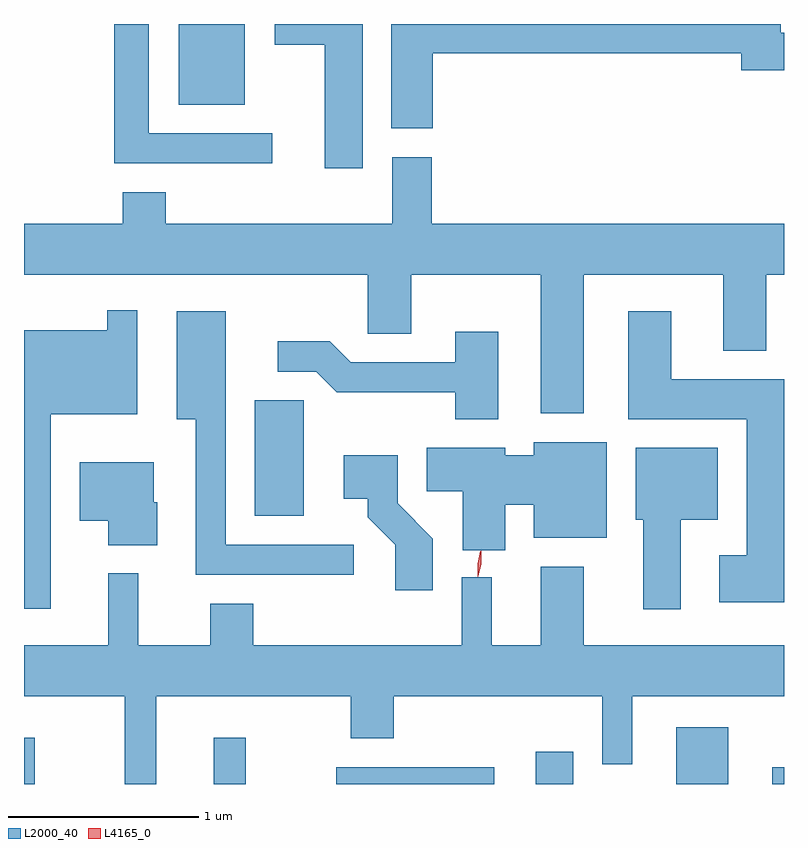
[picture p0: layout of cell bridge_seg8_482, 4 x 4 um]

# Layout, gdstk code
import gdstk
lib = gdstk.Library(unit=1e-6, precision=1e-09)
def R(c, l, rs):  # rectangles x0, y0, x1, y1
    for r in rs: c.add(gdstk.rectangle(r[:2], r[2:], *l))
def P(c, l, *ps):  # polygons
    for p in ps: c.add(gdstk.Polygon(p, *l))
L2000_40 = (2000, 40)
L4165_0 = (4165, 0)

bridge_seg8_482 = lib.new_cell('bridge_seg8_482')
R(bridge_seg8_482, L2000_40, [(207.422,1884.795,207.479,1885.038), (208.421,1884.795,208.589,1885.038), (209.066,1884.795,209.898,1884.884), (210.116,1884.795,210.314,1884.964), (210.856,1884.795,211.129,1885.094), (211.361,1884.795,211.422,1884.884), (208.636,1886.206,208.894,1886.814), (208.236,1888.371,208.584,1888.795)])
P(bridge_seg8_482, L2000_40, [(208.728,1888.219),(208.079,1888.219),(208.079,1888.795),(207.896,1888.795),(207.896,1888.061),(208.728,1888.061)],
  [(209.204,1888.795),(208.741,1888.795),(208.741,1888.686),(209.006,1888.686),(209.006,1888.036),(209.204,1888.036)],
  [(209.574,1888.641),(211.196,1888.641),(211.196,1888.551),(211.422,1888.551),(211.422,1888.749),(211.404,1888.749),(211.404,1888.795),(209.356,1888.795),(209.356,1888.246),(209.574,1888.246)],
  [(210.369,1887.476),(211.101,1887.476),(211.101,1887.076),(211.329,1887.076),(211.329,1887.476),(211.422,1887.476),(211.422,1887.744),(209.569,1887.744),(209.569,1888.094),(209.361,1888.094),(209.361,1887.744),(208.169,1887.744),(208.169,1887.909),(207.941,1887.909),(207.941,1887.744),(207.422,1887.744),(207.422,1887.476),(209.231,1887.476),(209.231,1887.166),(209.459,1887.166),(209.459,1887.476),(210.141,1887.476),(210.141,1886.746),(210.369,1886.746)],
  [(207.564,1886.741),(208.019,1886.741),(208.019,1887.288),(207.861,1887.288),(207.861,1887.184),(207.422,1887.184),(207.422,1885.718),(207.564,1885.718)],
  [(211.422,1886.924),(210.829,1886.924),(210.829,1887.284),(210.601,1887.284),(210.601,1886.716),(211.226,1886.716),(211.226,1885.999),(211.081,1885.999),(211.081,1885.751),(211.422,1885.751)],
  [(209.158,1886.054),(208.484,1886.054),(208.484,1887.284),(208.226,1887.284),(208.226,1886.716),(208.326,1886.716),(208.326,1885.896),(209.158,1885.896)],
  [(209.919,1887.174),(209.691,1887.174),(209.691,1887.014),(209.142,1887.014),(209.032,1887.124),(208.758,1887.124),(208.758,1886.966),(208.959,1886.966),(209.069,1886.856),(209.691,1886.856),(209.691,1886.716),(209.919,1886.716)],
  [(209.954,1886.266),(210.106,1886.266),(210.106,1886.091),(210.489,1886.091),(210.489,1886.594),(210.106,1886.594),(210.106,1886.524),(209.954,1886.524),(209.954,1886.564),(209.541,1886.564),(209.541,1886.336),(209.731,1886.336),(209.731,1886.026),(209.954,1886.026)],
  [(210.879,1886.186),(211.074,1886.186),(211.074,1886.564),(210.641,1886.564),(210.641,1886.186),(210.681,1886.186),(210.681,1885.716),(210.879,1885.716)],
  [(209.574,1886.087),(209.389,1886.272),(209.389,1886.524),(209.106,1886.524),(209.106,1886.296),(209.231,1886.296),(209.231,1886.199),(209.376,1886.054),(209.376,1885.816),(209.574,1885.816)],
  [(208.124,1886.279),(208.104,1886.279),(208.104,1886.489),(207.716,1886.489),(207.716,1886.181),(207.866,1886.181),(207.866,1886.051),(208.124,1886.051)],
  [(208.119,1885.256),(209.141,1885.256),(209.141,1885.036),(209.369,1885.036),(209.369,1885.256),(210.466,1885.256),(210.466,1884.898),(210.624,1884.898),(210.624,1885.256),(211.422,1885.256),(211.422,1885.524),(210.369,1885.524),(210.369,1885.939),(210.141,1885.939),(210.141,1885.524),(209.884,1885.524),(209.884,1885.883),(209.726,1885.883),(209.726,1885.524),(208.629,1885.524),(208.629,1885.744),(208.401,1885.744),(208.401,1885.524),(208.024,1885.524),(208.024,1885.903),(207.866,1885.903),(207.866,1885.524),(207.422,1885.524),(207.422,1885.256),(207.951,1885.256),(207.951,1884.795),(208.119,1884.795)])
P(bridge_seg8_482, L4165_0, [(209.812,1885.888),(209.812,1885.889),(209.809,1885.955),(209.824,1886.02),(209.825,1886.021),(209.825,1886.02),(209.828,1885.954),(209.813,1885.889)],
  [(209.811,1885.885),(209.81,1885.886),(209.81,1885.955),(209.828,1886.022),(209.828,1886.023),(209.829,1886.022),(209.829,1885.953),(209.811,1885.886)])

lib.write_gds('bridge_seg8_482.gds')
